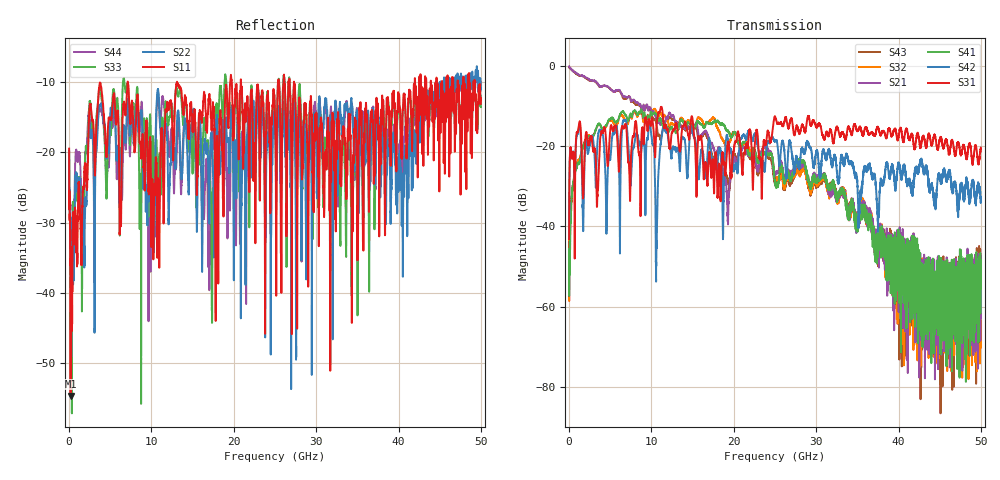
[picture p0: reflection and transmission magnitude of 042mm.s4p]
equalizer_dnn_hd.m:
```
clear;
addpath('hd')

symbolRate = 25*1e9;   % symbol rate in Bd
M = 4;            % modulation order
maxErrs = 200;    % target number of errors at each test
maxSymb = 1e7;    % maximum number of symbols at each test
nSymb = 2048;     % number of symbols per vector

% DNN parameters parameters
inputSize = 10;
refTap = 4;
parallel = 5;
numHiddenUnits = 100;
%numClasses = M;
maxEpochs = 1000;
miniBatchSize = 500; % parallel的整数倍

% Channel
ChannelFilename = '042mm.s4p'; %Specify channel S-parameter
imPFilename = ['impulseResponse_',ChannelFilename(1:5),'_',num2str(symbolRate/1e9),'GBd.mat'];
if ~exist(imPFilename,'file')
    ConvertSParameterToImpulseResponse;
else
    load(imPFilename);
end
chnl = chnlImP';  % channel impulse response [0.227 0.460 0.688 0.460 0.227]'
fprintf(['Impulse response of ',ChannelFilename(1:5),' Channel at ', num2str(symbolRate/1e9),'GBd is \n [',num2str(chnlImP),'].\n']);

% Equalizer
ntrain = nSymb;
arch = [inputSize,numHiddenUnits,numHiddenUnits,numHiddenUnits,parallel];
nlayer = length(arch);
eta = 1;
lambda = 5;

% Initialize channel and error collection parameters
chanState = [];

%神经网络参数初始化
weight = cell(1,nlayer);
bias = cell(1,nlayer);
nabla_weight = cell(1,nlayer);
nabla_bias = cell(1,nlayer);
a = cell(1,nlayer);
z = cell(1,nlayer);

for in = 2:nlayer
    weight{in} = rand(arch(in),arch(in-1))-0.5;
    bias{in} = rand(arch(in),1)-0.5;
    nabla_weight{in} = rand(arch(in),arch(in-1));
    nabla_bias{in} = rand(arch(in),1);
end
for in = 1:nlayer
    a{in} = zeros(arch(in),miniBatchSize/parallel);
    z{in} = zeros(arch(in),miniBatchSize/parallel);
end
accuracy = zeros(1,maxEpochs);
x_train = zeros(inputSize,miniBatchSize/parallel);
y_train = zeros(parallel,miniBatchSize/parallel);
x_valid = zeros(inputSize,floor((nSymb-inputSize)/parallel)+1);
y_valid = zeros(parallel,floor((nSymb-inputSize)/parallel)+1);

for ip = 1:maxEpochs
    % Generate random data and apply PAM4 modulation
    msg = randi([0 M-1],nSymb,1);
    txSig = real(pammod(msg,M));
    % Pass the signal through the channel
    [filtSig,chanState] = filter(chnl,1,txSig,chanState);
    noisySig = filtSig';
    label = msg';
    
    for pos = 0:floor(nSymb/miniBatchSize)-1
        for tap = 1:inputSize
            x_train(tap,:) = noisySig(pos*miniBatchSize+tap:parallel:pos*miniBatchSize+tap+miniBatchSize-1);
        end
        y_train = reshape(label(pos*miniBatchSize+refTap:pos*miniBatchSize+refTap+miniBatchSize-1),parallel,[]);

        a{1} = x_train;
        [a,z]=bp_feedforward(@acti_relu,@acti_sigmoid,weight,bias,nlayer,a,z);
        [weight,bias] = bp_backpropagation(@acti_relu_prime,@acti_sigmoid_prime,'quadratic',weight,bias,...
            nabla_weight,nabla_bias,nlayer,miniBatchSize,eta,a,z,y_train,lambda,ntrain);
    end
    
    % Generate random data and apply PAM4 modulation
    msg = randi([0 M-1],nSymb,1);
    txSig = real(pammod(msg,M));
    % Pass the signal through the channel
    [filtSig,chanState] = filter(chnl,1,txSig,chanState);
    noisySig = filtSig';
    label = msg';
    
    for tap = 1:inputSize
        x_valid(tap,:) = noisySig(tap:parallel:end-inputSize+tap);
    end
    for pos = 1:parallel
        y_valid(pos,:) = label(pos+refTap:parallel:end-inputSize+pos+refTap);
    end
    a_v{1} = x_valid;
    [a_v,z]=bp_feedforward(@acti_relu,@acti_sigmoid,weight,bias,nlayer,a_v,z);
    y_out = round(a_v{end});
    [currErrs, accuracy(ip)] = biterr(y_valid, y_out);
    plot(accuracy);
    title(['Accuracy:',num2str(accuracy(ip))]);
    getframe;
end
%yp = [y_valid;yp];
rmpath('hd')
```
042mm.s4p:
!Agilent Technologies,N5245A,MY51251349,A.09.33.09
!Agilent N5245A: A.09.33.09
!Date: Wednesday, September 30, 2020 11:25:14
!Correction: S11(Full 4 Port(1,2,3,4))
!S12(Full 4 Port(1,2,3,4))
!S13(Full 4 Port(1,2,3,4))
!S14(Full 4 Port(1,2,3,4))
!S21(Full 4 Port(1,2,3,4))
!S22(Full 4 Port(1,2,3,4))
!S23(Full 4 Port(1,2,3,4))
!S24(Full 4 Port(1,2,3,4))
!S31(Full 4 Port(1,2,3,4))
!S32(Full 4 Port(1,2,3,4))
!S33(Full 4 Port(1,2,3,4))
!S34(Full 4 Port(1,2,3,4))
!S41(Full 4 Port(1,2,3,4))
!S42(Full 4 Port(1,2,3,4))
!S43(Full 4 Port(1,2,3,4))
!S44(Full 4 Port(1,2,3,4))
!S4P File: Measurements: <S11,S12,S13,S14>,
!<S21,S22,S23,S24>,
!<S31,S32,S33,S34>,
!<S41,S42,S43,S44>:
# Hz S  dB  R 50
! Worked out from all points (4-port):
!   6401 points, 10 MHz to 50 GHz, reference 50 ohm
!   strongest paths, dB at 10 MHz, 12.51 GHz, 25 GHz, 37.5 GHz, 50 GHz:
!     S31: -43.1, -16.7, -12.7, -15.3, -20.4
!     S42: -42.8, -21.6, -18.8, -40.1, -33.0
!     S41: -45.8, -15.5, -29.4, -45.8, -55.3
!     S21: -0.1, -12.5, -27.0, -43.5, -54.8
!     S32: -40.2, -14.3, -27.9, -41.5, -50.3
!     S43: -0.3, -13.3, -28.9, -44.3, -55.4
!   lowest |S11| = -54.7 dB at 189.7 MHz (marker M1), VSWR 1.00, Z = 50.2 + j0.0447 ohm
!   |S11| at or under -10 dB: start of sweep to 7.117 GHz; 13.12 GHz to 19.57 GHz (6.445 GHz wide, 39.4 % of centre); 27.31 GHz to 41.97 GHz (14.65 GHz wide, 42.3 % of centre)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
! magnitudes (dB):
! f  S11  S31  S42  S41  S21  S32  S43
! 10 MHz  -19.5  -43.1  -42.8  -45.8  -0.1  -40.2  -0.3
! 189.7 MHz  -54.7  -20.5  -20.6  -37.5  -0.6  -38.6  -0.7
! 50 GHz  -12.3  -20.4  -33.0  -55.3  -54.8  -50.3  -55.4
